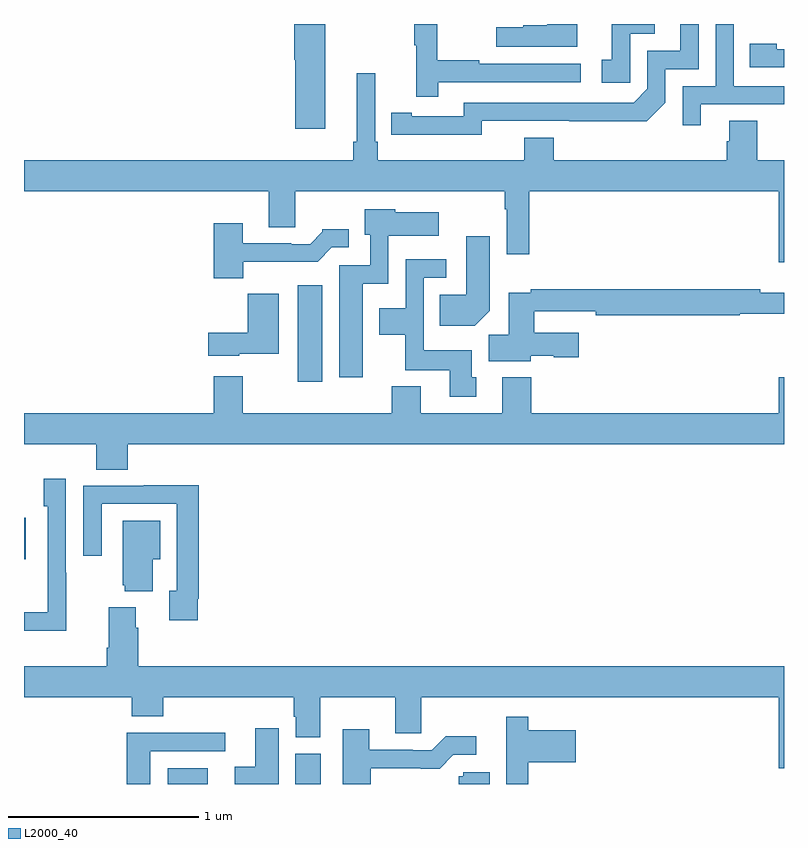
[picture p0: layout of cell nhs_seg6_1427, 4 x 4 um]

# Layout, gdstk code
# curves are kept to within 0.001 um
import gdstk
lib = gdstk.Library(unit=1e-6, precision=1e-09)
def R(c, l, rs):  # rectangles x0, y0, x1, y1
    for r in rs: c.add(gdstk.rectangle(r[:2], r[2:], *l))
def P(c, l, *ps):  # polygons
    for p in ps: c.add(gdstk.Polygon(p, *l))
L2000_40 = (2000, 40)

nhs_seg6_1427 = lib.new_cell('nhs_seg6_1427')
R(nhs_seg6_1427, L2000_40, [(197.756,993.5,197.968,993.583), (198.428,993.5,198.562,993.66), (197,994.682,197.008,994.901), (198.44,995.616,198.571,996.124)])
P(nhs_seg6_1427, L2000_40, [(199.181,997.194),(199.93,997.194),(199.93,997.29),(199.397,997.29),(199.397,997.31),(199.174,997.31),(199.174,997.5),(199.053,997.5),(199.053,997.387),(199.064,997.387),(199.064,997.116),(199.181,997.116)],
  [(199.41,996.99),(200.278,996.989),(200.376,997.086),(200.376,997.263),(200.55,997.263),(200.55,997.5),(200.453,997.5),(200.453,997.359),(200.28,997.359),(200.28,997.158),(200.208,997.086),(199.314,997.086),(199.314,997.014),(199.042,997.014),(199.042,997.034),(198.934,997.034),(198.934,996.918),(199.41,996.917)],
  [(199.912,997.5),(199.754,997.5),(199.754,997.493),(199.628,997.493),(199.628,997.483),(199.485,997.483),(199.485,997.379),(199.912,997.379)],
  [(198.586,997.5),(198.422,997.5),(198.422,997.311),(198.428,997.311),(198.428,996.948),(198.586,996.948)],
  [(200.19,997.449),(200.319,997.449),(200.319,997.5),(200.093,997.5),(200.093,997.311),(200.04,997.311),(200.04,997.191),(200.19,997.191)],
  [(200.563,997.077),(201,997.077),(201,997.173),(200.736,997.173),(200.736,997.5),(200.64,997.5),(200.64,997.173),(200.466,997.173),(200.466,996.966),(200.563,996.966)],
  [(201,997.368),(200.961,997.368),(200.961,997.395),(200.821,997.395),(200.821,997.272),(201,997.272)],
  [(197,996.62),(198.287,996.62),(198.287,996.43),(198.427,996.43),(198.427,996.62),(199.53,996.62),(199.53,996.524),(199.542,996.524),(199.542,996.288),(199.658,996.288),(199.658,996.62),(200.972,996.62),(200.972,996.246),(201,996.246),(201,996.784),(200.859,996.784),(200.859,996.992),(200.711,996.992),(200.711,996.882),(200.699,996.882),(200.699,996.784),(199.787,996.784),(199.787,996.901),(199.634,996.901),(199.634,996.784),(198.863,996.784),(198.863,996.88),(198.849,996.88),(198.849,997.24),(198.752,997.24),(198.752,996.88),(198.733,996.88),(198.733,996.784),(197,996.784)],
  [(198.784,996.134),(198.918,996.134),(198.918,996.386),(199.183,996.386),(199.183,996.508),(198.954,996.508),(198.954,996.526),(198.794,996.526),(198.794,996.39),(198.822,996.39),(198.822,996.231),(198.659,996.231),(198.659,995.64),(198.784,995.64)],
  [(198.154,996.248),(198.545,996.248),(198.621,996.324),(198.709,996.324),(198.709,996.421),(198.57,996.421),(198.57,996.406),(198.506,996.342),(198.407,996.342),(198.407,996.345),(198.151,996.345),(198.151,996.451),(197.999,996.451),(197.999,996.161),(198.154,996.161)],
  [(199.45,995.99),(199.45,996.382),(199.328,996.382),(199.328,996.076),(199.189,996.076),(199.189,995.912),(199.372,995.912)],
  [(199.381,995.64),(199.357,995.64),(199.357,995.782),(199.104,995.782),(199.104,996.165),(199.222,996.165),(199.222,996.261),(199.008,996.261),(199.008,996.004),(198.869,996.004),(198.869,995.864),(199.006,995.864),(199.006,995.678),(199.241,995.678),(199.241,995.538),(199.381,995.538)],
  [(199.668,995.753),(199.788,995.753),(199.788,995.746),(199.921,995.746),(199.921,995.875),(199.685,995.875),(199.685,995.988),(200.008,995.988),(200.008,995.968),(200.768,995.968),(200.768,995.976),(201,995.976),(201,996.085),(200.876,996.085),(200.876,996.104),(199.666,996.104),(199.666,996.086),(199.55,996.086),(199.55,995.864),(199.445,995.864),(199.445,995.726),(199.668,995.726)],
  [(198.132,995.765),(198.34,995.765),(198.34,996.079),(198.178,996.079),(198.178,995.875),(197.97,995.875),(197.97,995.753),(198.132,995.753)],
  [(197.546,995.288),(201,995.288),(201,995.641),(200.972,995.641),(200.972,995.452),(199.67,995.452),(199.67,995.641),(199.517,995.641),(199.517,995.452),(199.087,995.452),(199.087,995.593),(198.935,995.593),(198.935,995.452),(198.151,995.452),(198.151,995.647),(197.999,995.647),(197.999,995.452),(197,995.452),(197,995.288),(197.381,995.288),(197.381,995.155),(197.546,995.155)],
  [(197.223,994.613),(197.22,994.613),(197.22,995.107),(197.105,995.107),(197.105,994.962),(197.124,994.962),(197.124,994.404),(197,994.404),(197,994.307),(197.223,994.307)],
  [(197.914,994.474),(197.921,994.474),(197.921,995.072),(197.629,995.072),(197.629,995.07),(197.313,995.07),(197.313,994.701),(197.409,994.701),(197.409,994.974),(197.805,994.974),(197.805,994.518),(197.765,994.518),(197.765,994.362),(197.914,994.362)],
  [(197.677,994.682),(197.716,994.682),(197.716,994.885),(197.519,994.885),(197.519,994.545),(197.531,994.545),(197.531,994.514),(197.677,994.514)],
  [(201,994.12),(197.6,994.12),(197.6,994.322),(197.587,994.322),(197.587,994.429),(197.447,994.429),(197.447,994.216),(197.435,994.216),(197.435,994.12),(197,994.12),(197,993.956),(197.567,993.956),(197.567,993.857),(197.732,993.857),(197.732,993.956),(198.419,993.956),(198.419,993.855),(198.431,993.855),(198.431,993.745),(198.559,993.745),(198.559,993.956),(198.953,993.956),(198.953,993.766),(199.092,993.766),(199.092,993.956),(200.972,993.956),(200.972,993.582),(201,993.582)],
  [(199.655,993.614),(199.903,993.614),(199.903,993.784),(199.655,993.784),(199.655,993.853),(199.538,993.853),(199.538,993.63),(199.539,993.63),(199.539,993.5),(199.655,993.5)],
  [(198.34,993.793),(198.218,993.793),(198.218,993.592),(198.11,993.592),(198.11,993.5),(198.34,993.5)],
  [(198.825,993.582),(199.187,993.581),(199.26,993.654),(199.381,993.654),(199.381,993.751),(199.219,993.751),(199.146,993.678),(199.046,993.678),(199.046,993.681),(198.817,993.681),(198.817,993.787),(198.677,993.787),(198.677,993.5),(198.825,993.5)],
  [(197.665,993.672),(198.058,993.672),(198.058,993.77),(197.54,993.77),(197.54,993.5),(197.665,993.5)],
  [(199.45,993.561),(199.311,993.561),(199.311,993.54),(199.289,993.54),(199.289,993.5),(199.45,993.5)])

lib.write_gds('nhs_seg6_1427.gds')
